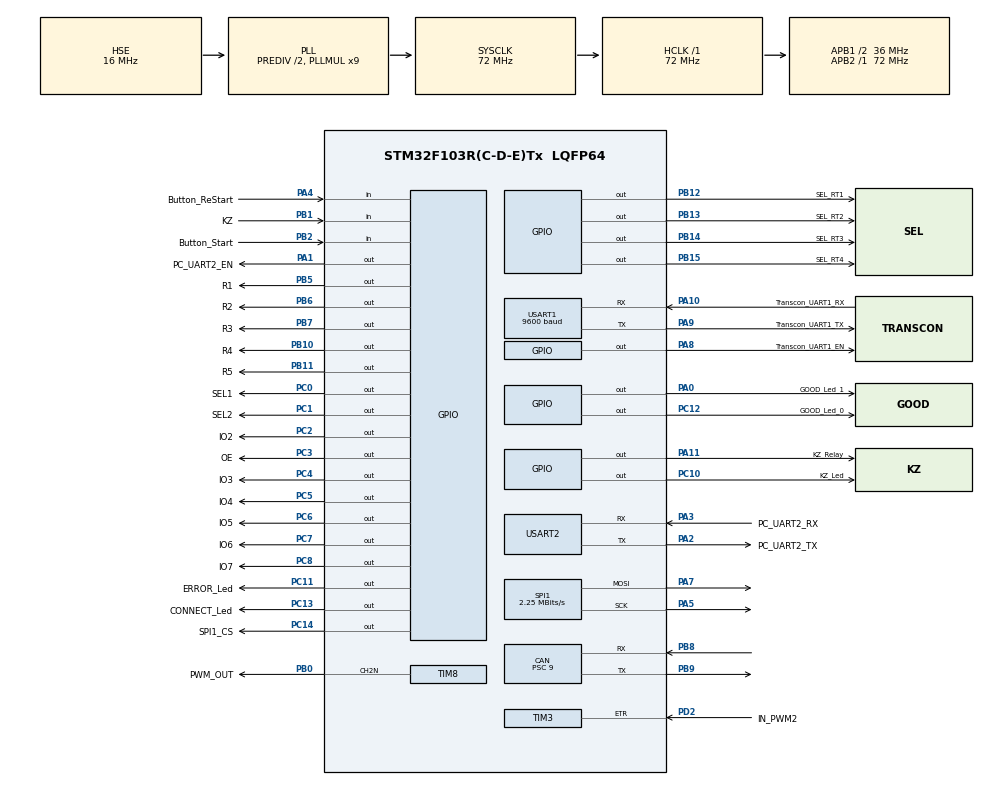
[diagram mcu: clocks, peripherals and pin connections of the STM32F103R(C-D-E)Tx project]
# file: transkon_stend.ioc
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CAN.ABOM=ENABLE
CAN.BS1=CAN_BS1_13TQ
CAN.BS2=CAN_BS2_2TQ
CAN.CalculateBaudRate=250000
CAN.CalculateTimeBit=4000
CAN.CalculateTimeQuantum=250.0
CAN.Mode=CAN_MODE_SILENT
CAN.NART=ENABLE
CAN.Prescaler=9
CAN.SJW=CAN_SJW_2TQ
CAN.TXFP=ENABLE
Dma.Request0=USART2_RX
Dma.Request1=USART2_TX
Dma.Request2=USART1_RX
Dma.Request3=USART1_TX
Dma.USART1_RX.2.Direction=DMA_PERIPH_TO_MEMORY
Dma.USART1_RX.2.Instance=DMA1_Channel5
Dma.USART1_RX.2.MemDataAlignment=DMA_MDATAALIGN_BYTE
Dma.USART1_RX.2.MemInc=DMA_MINC_ENABLE
Dma.USART1_RX.2.Mode=DMA_NORMAL
Dma.USART1_RX.2.PeriphDataAlignment=DMA_PDATAALIGN_BYTE
Dma.USART1_RX.2.PeriphInc=DMA_PINC_DISABLE
Dma.USART1_RX.2.Priority=DMA_PRIORITY_LOW
Dma.USART1_TX.3.Direction=DMA_MEMORY_TO_PERIPH
Dma.USART1_TX.3.Instance=DMA1_Channel4
Dma.USART1_TX.3.MemDataAlignment=DMA_MDATAALIGN_BYTE
Dma.USART1_TX.3.MemInc=DMA_MINC_ENABLE
Dma.USART1_TX.3.Mode=DMA_NORMAL
Dma.USART1_TX.3.PeriphDataAlignment=DMA_PDATAALIGN_BYTE
Dma.USART1_TX.3.PeriphInc=DMA_PINC_DISABLE
Dma.USART1_TX.3.Priority=DMA_PRIORITY_LOW
Dma.USART2_RX.0.Direction=DMA_PERIPH_TO_MEMORY
Dma.USART2_RX.0.Instance=DMA1_Channel6
Dma.USART2_RX.0.MemDataAlignment=DMA_MDATAALIGN_BYTE
Dma.USART2_RX.0.MemInc=DMA_MINC_ENABLE
Dma.USART2_RX.0.Mode=DMA_NORMAL
Dma.USART2_RX.0.PeriphDataAlignment=DMA_PDATAALIGN_BYTE
Dma.USART2_RX.0.PeriphInc=DMA_PINC_DISABLE
Dma.USART2_RX.0.Priority=DMA_PRIORITY_LOW
Dma.USART2_TX.1.Direction=DMA_MEMORY_TO_PERIPH
Dma.USART2_TX.1.Instance=DMA1_Channel7
Dma.USART2_TX.1.MemDataAlignment=DMA_MDATAALIGN_BYTE
Dma.USART2_TX.1.MemInc=DMA_MINC_ENABLE
Dma.USART2_TX.1.Mode=DMA_NORMAL
Dma.USART2_TX.1.PeriphDataAlignment=DMA_PDATAALIGN_BYTE
Dma.USART2_TX.1.PeriphInc=DMA_PINC_DISABLE
Dma.USART2_TX.1.Priority=DMA_PRIORITY_LOW
FREERTOS.Tasks01=defaultTask,24,128,StartDefaultTask,Default,NULL,Dynamic,NULL,NULL;myTask02,24,200,StartTask02,Default,NULL,Dynamic,NULL,NULL;myTask03,24,200,StartTask03,Default,NULL,Dynamic,NULL,NULL;myTask04,24,400,StartTask04,Default,NULL,Dynamic,NULL,NULL
FREERTOS.configTOTAL_HEAP_SIZE=4200
Mcu.Family=STM32F1
Mcu.Name=STM32F103R(C-D-E)Tx
Mcu.Package=LQFP64
NVIC.DMA1_Channel4_IRQn=true\:5\:0\:false\:false\:true\:true\:false\:true\:true
NVIC.DMA1_Channel5_IRQn=true\:5\:0\:false\:false\:true\:true\:false\:true\:true
NVIC.DMA1_Channel6_IRQn=true\:5\:0\:false\:false\:true\:true\:false\:true\:true
NVIC.DMA1_Channel7_IRQn=true\:5\:0\:false\:false\:true\:true\:false\:true\:true
NVIC.PriorityGroup=NVIC_PRIORITYGROUP_4
NVIC.TIM1_UP_IRQn=true\:15\:0\:false\:false\:true\:false\:true\:true\:true
NVIC.TIM4_IRQn=true\:5\:0\:false\:false\:true\:true\:true\:true\:true
NVIC.TimeBase=TIM1_UP_IRQn
NVIC.TimeBaseIP=TIM1
NVIC.USART1_IRQn=true\:5\:0\:false\:false\:true\:true\:true\:true\:true
NVIC.USART2_IRQn=true\:5\:0\:false\:false\:true\:true\:true\:true\:true
NVIC.USB_HP_CAN1_TX_IRQn=true\:5\:0\:false\:false\:true\:true\:true\:true\:true
NVIC.USB_LP_CAN1_RX0_IRQn=true\:5\:0\:false\:false\:true\:true\:true\:true\:true
PA0-WKUP.GPIO_Label=GOOD_Led_1
PA0-WKUP.Signal=GPIO_Output
PA1.GPIO_Label=PC_UART2_EN
PA1.Signal=GPIO_Output
PA10.GPIO_Label=Transcon_UART1_RX
PA10.Mode=Asynchronous
PA10.Signal=USART1_RX
PA11.GPIO_Label=KZ_Relay
PA11.Signal=GPIO_Output
PA13.Mode=JTAG_5_pins
PA13.Signal=SYS_JTMS-SWDIO
PA14.Mode=JTAG_5_pins
PA14.Signal=SYS_JTCK-SWCLK
PA15.Mode=JTAG_5_pins
PA15.Signal=SYS_JTDI
PA2.GPIO_Label=PC_UART2_TX
PA2.Mode=Asynchronous
PA2.Signal=USART2_TX
PA3.GPIO_Label=PC_UART2_RX
PA3.Mode=Asynchronous
PA3.Signal=USART2_RX
PA4.GPIO_Label=Button_ReStart
PA4.GPIO_PuPd=GPIO_NOPULL
PA4.Signal=GPIO_Input
PA5.Mode=TX_Only_Simplex_Unidirect_Master
PA5.Signal=SPI1_SCK
PA7.Mode=TX_Only_Simplex_Unidirect_Master
PA7.Signal=SPI1_MOSI
PA8.GPIO_Label=Transcon_UART1_EN
PA8.Signal=GPIO_Output
PA9.GPIO_Label=Transcon_UART1_TX
PA9.Mode=Asynchronous
PA9.Signal=USART1_TX
PB0.GPIO_Label=PWM_OUT
PB0.Mode=PWM Generation2 CH2N
PB0.Signal=TIM8_CH2N
PB1.GPIO_Label=KZ
PB1.Signal=GPIO_Input
PB10.GPIO_Label=R4
PB10.Signal=GPIO_Output
PB11.GPIO_Label=R5
PB11.Signal=GPIO_Output
PB12.GPIO_Label=SEL_RT1
PB12.Signal=GPIO_Output
PB13.GPIO_Label=SEL_RT2
PB13.Signal=GPIO_Output
PB14.GPIO_Label=SEL_RT3
PB14.Signal=GPIO_Output
PB15.GPIO_Label=SEL_RT4
PB15.Signal=GPIO_Output
PB2.GPIO_Label=Button_Start
PB2.GPIO_PuPd=GPIO_NOPULL
PB2.Signal=GPIO_Input
PB3.Mode=JTAG_5_pins
PB3.Signal=SYS_JTDO-TRACESWO
PB4.Mode=JTAG_5_pins
PB4.Signal=SYS_NJTRST
PB5.GPIO_Label=R1
PB5.Signal=GPIO_Output
PB6.GPIO_Label=R2
PB6.Signal=GPIO_Output
PB7.GPIO_Label=R3
PB7.Signal=GPIO_Output
PB8.Mode=CAN_Activate
PB8.Signal=CAN_RX
PB9.Mode=CAN_Activate
PB9.Signal=CAN_TX
PC0.GPIO_Label=SEL1
PC0.Signal=GPIO_Output
PC1.GPIO_Label=SEL2
PC1.Signal=GPIO_Output
PC10.GPIO_Label=KZ_Led
PC10.Signal=GPIO_Output
PC11.GPIO_Label=ERROR_Led
PC11.Signal=GPIO_Output
PC12.GPIO_Label=GOOD_Led_0
PC12.Signal=GPIO_Output
PC13-TAMPER-RTC.GPIO_Label=CONNECT_Led
PC13-TAMPER-RTC.Signal=GPIO_Output
PC14-OSC32_IN.GPIO_Label=SPI1_CS
PC14-OSC32_IN.Signal=GPIO_Output
PC2.GPIO_Label=IO2
PC2.Signal=GPIO_Output
PC3.GPIO_Label=OE
PC3.GPIO_PuPd=GPIO_NOPULL
PC3.PinState=GPIO_PIN_RESET
PC3.Signal=GPIO_Output
PC4.GPIO_Label=IO3
PC4.Signal=GPIO_Output
PC5.GPIO_Label=IO4
PC5.Signal=GPIO_Output
PC6.GPIO_Label=IO5
PC6.Signal=GPIO_Output
PC7.GPIO_Label=IO6
PC7.Signal=GPIO_Output
PC8.GPIO_Label=IO7
PC8.Signal=GPIO_Output
PD0-OSC_IN.Mode=HSE-External-Oscillator
PD0-OSC_IN.Signal=RCC_OSC_IN
PD1-OSC_OUT.Mode=HSE-External-Oscillator
PD1-OSC_OUT.Signal=RCC_OSC_OUT
PD2.GPIO_Label=IN_PWM2
PD2.Signal=S_TIM3_ETR
ProjectManager.HeapSize=0x200
ProjectManager.StackSize=0x400
ProjectManager.TargetToolchain=MDK-ARM V5.32
RCC.AHBFreq_Value=72000000
RCC.APB1CLKDivider=RCC_HCLK_DIV2
RCC.APB1Freq_Value=36000000
RCC.APB1TimFreq_Value=72000000
RCC.APB2Freq_Value=72000000
RCC.APB2TimFreq_Value=72000000
RCC.HCLKFreq_Value=72000000
RCC.HSEDivPLL=RCC_HSE_PREDIV_DIV2
RCC.HSE_VALUE=16000000
RCC.PLLMUL=RCC_PLL_MUL9
RCC.PLLSourceVirtual=RCC_PLLSOURCE_HSE
RCC.SYSCLKFreq_VALUE=72000000
RCC.SYSCLKSource=RCC_SYSCLKSOURCE_PLLCLK
RCC.USBFreq_Value=72000000
SH.S_TIM3_ETR.0=TIM3_ETR,ClockSourceETR_Mode2
SPI1.BaudRatePrescaler=SPI_BAUDRATEPRESCALER_32
SPI1.CalculateBaudRate=2.25 MBits/s
SPI1.Direction=SPI_DIRECTION_2LINES
SPI1.Mode=SPI_MODE_MASTER
SPI1.VirtualType=VM_MASTER
TIM3.ClockFilter=15
TIM3.TIM_MasterOutputTrigger=TIM_TRGO_UPDATE
TIM4.CounterMode=TIM_COUNTERMODE_UP
TIM4.Period=9999
TIM4.Prescaler=7199
TIM4.TIM_MasterOutputTrigger=TIM_TRGO_ENABLE
TIM4.TIM_MasterSlaveMode=TIM_MASTERSLAVEMODE_ENABLE
TIM8.Channel-PWM\ Generation2\ CH2N=TIM_CHANNEL_2
TIM8.Period=2399
USART1.BaudRate=9600
USART1.VirtualMode=VM_ASYNC
USART2.VirtualMode=VM_ASYNC
VP_FREERTOS_VS_CMSIS_V2.Mode=CMSIS_V2
VP_SYS_VS_tim1.Mode=TIM1
VP_TIM3_VS_ClockSourceITR.Mode=TriggerSource_ITR3
VP_TIM3_VS_ControllerModeGated.Mode=Gated Mode
VP_TIM4_VS_ClockSourceINT.Mode=Internal
board=custom

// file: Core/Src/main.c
/* USER CODE BEGIN Header */
/**
  ******************************************************************************
  * @file           : main.c
  * @brief          : Main program body
  ******************************************************************************
  * @attention
  *
  * Copyright (c) 2024 STMicroelectronics.
  * All rights reserved.
  *
  * This software is licensed under terms that can be found in the LICENSE file
  * in the root directory of this software component.
  * If no LICENSE file comes with this software, it is provided AS-IS.
  *
  ******************************************************************************
  */
/* USER CODE END Header */
#include "main.h"
#include "cmsis_os.h"
#include "can.h"
#include "dma.h"
#include "spi.h"
#include "tim.h"
#include "usart.h"
#include "gpio.h"

/* USER CODE BEGIN Includes */
#include <ModbusRTU_Slave.h>
#include "functions.h"
#include "uart_.h"
#include "button_.h"
#include "can_.h"

/* USER CODE END Includes */

void SystemClock_Config(void);
void MX_FREERTOS_Init(void);

/* USER CODE BEGIN 0 */

uint16_t count_main = 0; //количество тиков на таймере (pwm)

/* USER CODE END 0 */

int main(void)
{

  /* MCU Configuration--------------------------------------------------------*/

  /* Reset of all peripherals, Initializes the Flash interface and the Systick. */
  HAL_Init();

  /* Configure the system clock */
  SystemClock_Config();

  /* Initialize all configured peripherals */
  MX_GPIO_Init();
  MX_DMA_Init();
  MX_SPI1_Init();
  MX_USART2_UART_Init();
  MX_USART1_UART_Init();
  MX_TIM3_Init();
  MX_TIM4_Init();
  MX_CAN_Init();
  MX_TIM8_Init();
  /* USER CODE BEGIN 2 */

	ModbusRegister[0] = SLAVEID;
	str7.counter_total = 68; //количество тестов конечное число
	ModbusRegister[7] =  str7.val;
	ModbusRegister[35] = pwm_4v_constant;
	ModbusRegister[36] = pwm_12v_constant;
	ModbusRegister[37] = pwm_20v_constant;
	uint16_t temp_prothent_ai = prothent_ai * 100;
	ModbusRegister[38] = temp_prothent_ai;

	setup_can();

	HAL_GPIO_WritePin(GPIOC, OE_Pin, GPIO_PIN_RESET); //включаем сдвиговый регистр
	reset_all_relays();

	/* MODBUS PC */
	HAL_GPIO_WritePin(PC_UART2_EN_GPIO_Port, PC_UART2_EN_Pin, GPIO_PIN_RESET);
	HAL_UARTEx_ReceiveToIdle_DMA(&huart2,(uint8_t *)ModbusRx,sizeof(ModbusRx)); //PC Modbus

	HAL_UARTEx_ReceiveToIdle_DMA(&huart1, rx_buffer, rx_buffer_size); //Transkon UART

	HAL_TIMEx_PWMN_Start(&htim8, TIM_CHANNEL_2); //старт PWM
	TIM8->CCR2=2399;

	set_all_led();
	HAL_Delay(2500);
	reset_all_led();

	//test_485_permach();
	//test_can_permach();

	HAL_TIM_Base_Start_IT(&htim4);
	HAL_TIM_Base_Start(&htim3);

  /* USER CODE END 2 */

  /* Init scheduler */
  osKernelInitialize();

  /* Call init function for freertos objects (in cmsis_os2.c) */
  MX_FREERTOS_Init();

  /* Start scheduler */
  osKernelStart();

  /* We should never get here as control is now taken by the scheduler */

  /* Infinite loop */
  while (1)
  {

	if (g_test_pending)
	{
		uint8_t id  = g_test_id;
		uint8_t act = g_test_action;

		g_test_pending = 0;

		if (act)
		{
			// ===== ВКЛЮЧЕНИЕ РЕЖИМА =====
			// здесь позже будет switch(id)

			ModbusRegister[REG_TEST_STATUS] = 0x4000 | id;  // ON + id
		}
		else
		{
			// ===== ВЫКЛЮЧЕНИЕ РЕЖИМА =====

			ModbusRegister[REG_TEST_STATUS] = 0x5000 | id;  // OFF + id
		}
	}

  }
}

void SystemClock_Config(void)
{
  RCC_OscInitTypeDef RCC_OscInitStruct = {0};
  RCC_ClkInitTypeDef RCC_ClkInitStruct = {0};

  /** Initializes the RCC Oscillators according to the specified parameters
  * in the RCC_OscInitTypeDef structure.
  */
  RCC_OscInitStruct.OscillatorType = RCC_OSCILLATORTYPE_HSE;
  RCC_OscInitStruct.HSEState = RCC_HSE_ON;
  RCC_OscInitStruct.HSEPredivValue = RCC_HSE_PREDIV_DIV2;
  RCC_OscInitStruct.HSIState = RCC_HSI_ON;
  RCC_OscInitStruct.PLL.PLLState = RCC_PLL_ON;
  RCC_OscInitStruct.PLL.PLLSource = RCC_PLLSOURCE_HSE;
  RCC_OscInitStruct.PLL.PLLMUL = RCC_PLL_MUL9;
  if (HAL_RCC_OscConfig(&RCC_OscInitStruct) != HAL_OK)
  {
    Error_Handler();
  }

  /** Initializes the CPU, AHB and APB buses clocks
  */
  RCC_ClkInitStruct.ClockType = RCC_CLOCKTYPE_HCLK|RCC_CLOCKTYPE_SYSCLK
                              |RCC_CLOCKTYPE_PCLK1|RCC_CLOCKTYPE_PCLK2;
  RCC_ClkInitStruct.SYSCLKSource = RCC_SYSCLKSOURCE_PLLCLK;
  RCC_ClkInitStruct.AHBCLKDivider = RCC_SYSCLK_DIV1;
  RCC_ClkInitStruct.APB1CLKDivider = RCC_HCLK_DIV2;
  RCC_ClkInitStruct.APB2CLKDivider = RCC_HCLK_DIV1;

  if (HAL_RCC_ClockConfig(&RCC_ClkInitStruct, FLASH_LATENCY_2) != HAL_OK)
  {
    Error_Handler();
  }
}

void HAL_TIM_PeriodElapsedCallback(TIM_HandleTypeDef *htim)
{
  if (htim->Instance == TIM1) {
    HAL_IncTick();
  }
  /* USER CODE BEGIN Callback 1 */

	if(htim->Instance == TIM4)
  {
		count_main = ((&htim3)->Instance->CNT); //смотрим, чего там натикало в таймере 2
		HAL_TIM_Base_Stop_IT(&htim4);
		(&htim3)->Instance->CNT = 0x0000; //сброс счетчика таймера 2.
		HAL_TIM_Base_Start_IT(&htim4);
	}

  /* USER CODE END Callback 1 */
}

void Error_Handler(void)
{
  __disable_irq();
  while (1)
  {
  }
}

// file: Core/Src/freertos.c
/* USER CODE BEGIN Header */
/**
  ******************************************************************************
  * File Name          : freertos.c
  * Description        : Code for freertos applications
  ******************************************************************************
  * @attention
  *
  * Copyright (c) 2024 STMicroelectronics.
  * All rights reserved.
  *
  * This software is licensed under terms that can be found in the LICENSE file
  * in the root directory of this software component.
  * If no LICENSE file comes with this software, it is provided AS-IS.
  *
  ******************************************************************************
  */
/* USER CODE END Header */

#include "FreeRTOS.h"
#include "task.h"
#include "main.h"
#include "cmsis_os.h"

/* USER CODE BEGIN Includes */

#include <ModbusRTU_Slave.h>
#include "functions.h"
#include "can.h"

/* USER CODE END Includes */

/* Definitions for defaultTask */
osThreadId_t defaultTaskHandle;
const osThreadAttr_t defaultTask_attributes = {
  .name = "defaultTask",
  .stack_size = 128 * 4,
  .priority = (osPriority_t) osPriorityNormal,
};
/* Definitions for myTask02 */
osThreadId_t myTask02Handle;
const osThreadAttr_t myTask02_attributes = {
  .name = "myTask02",
  .stack_size = 200 * 4,
  .priority = (osPriority_t) osPriorityNormal,
};
/* Definitions for myTask03 */
osThreadId_t myTask03Handle;
const osThreadAttr_t myTask03_attributes = {
  .name = "myTask03",
  .stack_size = 200 * 4,
  .priority = (osPriority_t) osPriorityNormal,
};
/* Definitions for myTask04 */
osThreadId_t myTask04Handle;
const osThreadAttr_t myTask04_attributes = {
  .name = "myTask04",
  .stack_size = 400 * 4,
  .priority = (osPriority_t) osPriorityNormal,
};

void StartDefaultTask(void *argument);
void StartTask02(void *argument);
void StartTask03(void *argument);
void StartTask04(void *argument);

void MX_FREERTOS_Init(void); /* (MISRA C 2004 rule 8.1) */

void MX_FREERTOS_Init(void) {
  /* USER CODE BEGIN Init */

void vApplicationStackOverflowHook(TaskHandle_t xTask, char *pcTaskName);	// ��� ��� ��������� ������������ �����

  /* USER CODE END Init */

  /* Create the thread(s) */
  /* creation of defaultTask */
  defaultTaskHandle = osThreadNew(StartDefaultTask, NULL, &defaultTask_attributes);

  /* creation of myTask02 */
  myTask02Handle = osThreadNew(StartTask02, NULL, &myTask02_attributes);

  /* creation of myTask03 */
  myTask03Handle = osThreadNew(StartTask03, NULL, &myTask03_attributes);

  /* creation of myTask04 */
  myTask04Handle = osThreadNew(StartTask04, NULL, &myTask04_attributes);

}

//bool tg = 1;
//uint16_t out_pwm = 1000;
void StartDefaultTask(void *argument)
{
  /* USER CODE BEGIN StartDefaultTask */
  /* Infinite loop */
  for(;;)
  {
		//HAL_GPIO_WritePin(IO4_GPIO_Port, IO4_Pin, (GPIO_PinState)tg);
		//TIM8->CCR2=out_pwm;
    osDelay(1);
  }
  /* USER CODE END StartDefaultTask */
}

/* USER CODE BEGIN Header_StartTask02 */
/**
* @brief Function implementing the myTask02 thread.
* @param argument: Not used
* @retval None
*/
UBaseType_t Task02;
/* USER CODE END Header_StartTask02 */
void StartTask02(void *argument)
{
  /* USER CODE BEGIN StartTask02 */

	Task02 = uxTaskGetStackHighWaterMark(NULL);	// Получение начального значения Task02
  /* Infinite loop */
  for(;;)
  {
		//uartDataHandler();

		Task02 = uxTaskGetStackHighWaterMark(NULL); // Проверяет минимальное количество оставшегося свободного стека.

    osDelay(10);
  }
  /* USER CODE END StartTask02 */
}

/* USER CODE BEGIN Header_StartTask03 */
/**
* @brief Function implementing the myTask03 thread.
* @param argument: Not used
* @retval None
*/
UBaseType_t Task03;
/* USER CODE END Header_StartTask03 */
void StartTask03(void *argument)
{
  /* USER CODE BEGIN StartTask03 */

	Task03 = uxTaskGetStackHighWaterMark(NULL);	// Получение начального значения Task03

  /* Infinite loop */
  for(;;)
  {
		//test_485_permach();

		//test_can_permach();
		HAL_CAN_RxFifo0MsgPendingCallback(&hcan); // проверка отрыва транскона
		//test_can_permach(&hcan);
		//read_can();
		my_connect_to_pc_485();

		PC_Connect();

		status_KZ();

		Task03 = uxTaskGetStackHighWaterMark(NULL); // Проверяет минимальное количество оставшегося свободного стека.
    osDelay(50);
  }
  /* USER CODE END StartTask03 */
}

/* USER CODE BEGIN Header_StartTask04 */
/**
* @brief Function implementing the myTask04 thread.
* @param argument: Not used
* @retval None
*/
UBaseType_t Task04;
/* USER CODE END Header_StartTask04 */
void StartTask04(void *argument)
{
  /* USER CODE BEGIN StartTask04 */

	Task04 = uxTaskGetStackHighWaterMark(NULL);	// Получение начального значения Task04

  /* Infinite loop */
  for(;;)
  {
		test();

		Task04 = uxTaskGetStackHighWaterMark(NULL); // Проверяет минимальное количество оставшегося свободного стека.

    osDelay(100);
  }
  /* USER CODE END StartTask04 */
}

/* USER CODE BEGIN Application */

void vApplicationStackOverflowHook(TaskHandle_t xTask, char *pcTaskName) // Хук для переполнения стека
{
    printf("Stack overflow in task: %s\n", pcTaskName);  // Обработка переполнения

    while (1);	// Остановить систему или предпринять корректирующие действия
}

/* USER CODE END Application */
